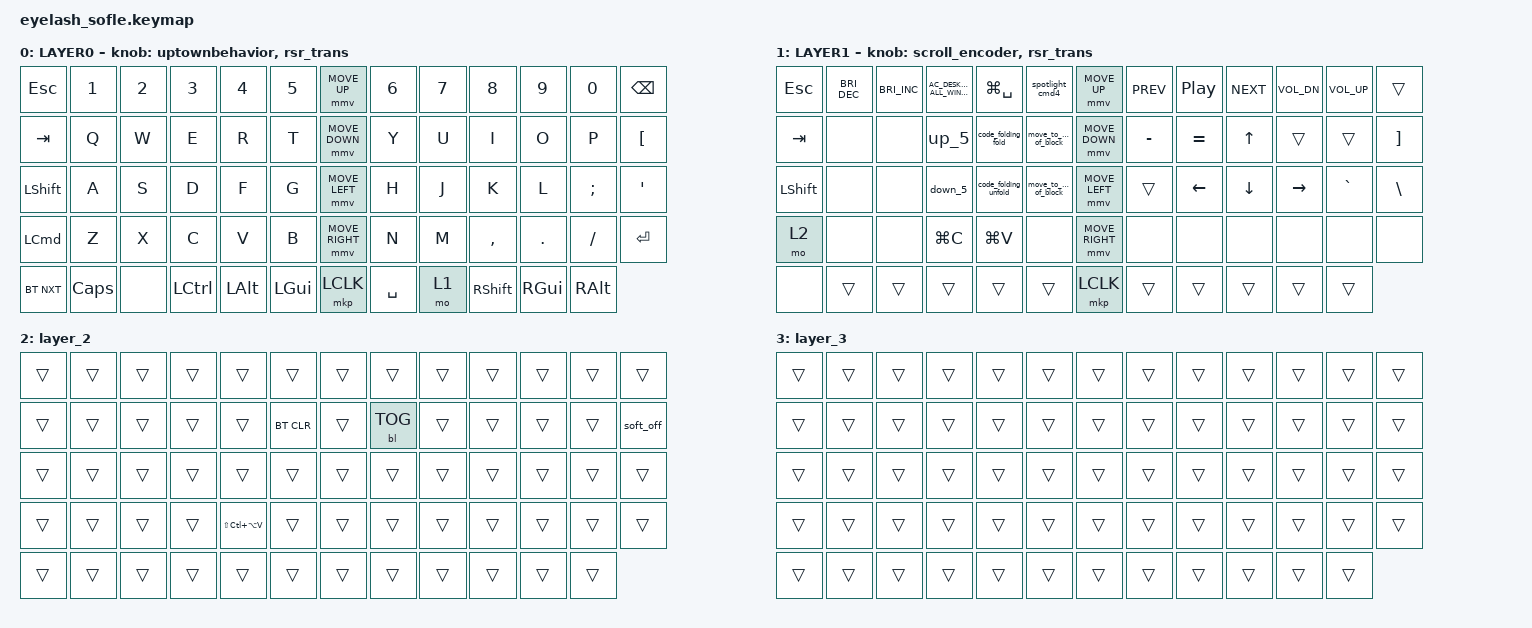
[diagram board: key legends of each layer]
#define ZMK_POINTING_DEFAULT_MOVE_VAL 1200  // 600
#define ZMK_POINTING_DEFAULT_SCRL_VAL 25   // 10

#include <input/processors.dtsi>
#include <zephyr/dt-bindings/input/input-event-codes.h>
#include <behaviors/runtime-sensor-rotate.dtsi>
#include <behaviors.dtsi>
#include <dt-bindings/zmk/backlight.h>
#include <dt-bindings/zmk/bt.h>
#include <dt-bindings/zmk/keys.h>
#include <dt-bindings/zmk/pointing.h>

&mmv_input_listener { input-processors = <&zip_xy_scaler 2 1>; };

&msc_input_listener { input-processors = <&zip_scroll_scaler 2 1>; };

&msc {
    acceleration-exponent = <1>;      // 0
    time-to-max-speed-ms = <100>;       // 300
    delay-ms = <0>;                   // 0
};

&mmv {
    time-to-max-speed-ms = <500>;
    acceleration-exponent = <1>;
    trigger-period-ms = <16>;
};

&soft_off { hold-time-ms = <2000>; };

/ {
    scroll_encoder: scroll_encoder {
        compatible = "zmk,behavior-sensor-rotate";
        #sensor-binding-cells = <0>;
        bindings = <&msc SCRL_DOWN>, <&msc SCRL_UP>;

        tap-ms = <100>;
    };

    behaviors {
        rsr_vol: rsr_vol {
            compatible = "zmk,behavior-runtime-sensor-rotate";
            #sensor-binding-cells = <0>;
            tap-ms = <5>;
            cw-binding = <&kp C_VOL_UP>;
            ccw-binding = <&kp C_VOL_DN>;
        };

        rsr_trans: rsr_trans {
            compatible = "zmk,behavior-runtime-sensor-rotate";
            #sensor-binding-cells = <0>;
            tap-ms = <0>;
        };

        workplaces: workplaces {
            compatible = "zmk,behavior-sensor-rotate";
            #sensor-binding-cells = <0>;
            bindings = <&kp LC(RIGHT)>, <&kp LC(LEFT_ARROW)>;

            tap-ms = <100>;
            label = "WORKPLACES";
        };

        uptownbehavior: uptownbehavior {
            compatible = "zmk,behavior-sensor-rotate";
            #sensor-binding-cells = <0>;
            bindings = <&kp UP_ARROW>, <&kp DOWN_ARROW>;

            tap-ms = <100>;
            label = "UPTOWNBEHAVIOR";
        };
    };

    combos {
        compatible = "zmk,combos";

        softoff {
            bindings = <&soft_off>;
            key-positions = <14 28 40>;
        };
    };

    macros {
        spotlight_cmd4: spotlight_cmd4 {
            compatible = "zmk,behavior-macro";
            #binding-cells = <0>;
            bindings =
                <&kp LG(SPACE)>,
                <&macro_wait_time 50>,
                <&kp LG(NUMBER_4)>;

            label = "SPOTLIGHT_CMD4";
        };

        up_5: up_5 {
            compatible = "zmk,behavior-macro";
            #binding-cells = <0>;
            bindings = <&kp UP &kp UP &kp UP &kp UP &kp UP>;
            label = "UP_5";
            tap-ms = <1>;
            wait-ms = <0>;
        };

        down_5: down_5 {
            compatible = "zmk,behavior-macro";
            #binding-cells = <0>;
            bindings = <&kp DOWN &kp DOWN &kp DOWN &kp DOWN &kp DOWN>;
            label = "DOWN_5";
            tap-ms = <1>;
            wait-ms = <0>;
        };

        left_5: left_5 {
            compatible = "zmk,behavior-macro";
            #binding-cells = <0>;
            bindings = <&kp LEFT &kp LEFT &kp LEFT &kp LEFT &kp LEFT>;
            label = "LEFT_5";
            tap-ms = <1>;
        };

        right_5: right_5 {
            compatible = "zmk,behavior-macro";
            #binding-cells = <0>;
            bindings = <&kp RIGHT &kp RIGHT &kp RIGHT &kp RIGHT &kp RIGHT>;
            label = "RIGHT_5";
            tap-ms = <1>;
        };

        code_folding_fold: code_folding_fold {
            compatible = "zmk,behavior-macro";
            #binding-cells = <0>;
            bindings = <&kp LA(LG(LEFT_ARROW))>;
            label = "CODE_FOLDING_FOLD";
        };

        code_folding_unfold: code_folding_unfold {
            compatible = "zmk,behavior-macro";
            #binding-cells = <0>;
            bindings = <&kp LA(LG(RIGHT))>;
            label = "CODE_FOLDING_UNFOLD";
        };

        move_to_end_of_block: move_to_end_of_block {
            compatible = "zmk,behavior-macro";
            #binding-cells = <0>;
            bindings = <&kp LA(LG(DOWN))>;
            label = "MOVE_TO_END_OF_BLOCK";
        };

        move_to_beginning_of_block: move_to_beginning_of_block {
            compatible = "zmk,behavior-macro";
            #binding-cells = <0>;
            bindings = <&kp LA(LG(UP))>;
            label = "MOVE_TO_BEGINNING_OF_BLOCK";
        };
    };

    keymap {
        compatible = "zmk,keymap";

        layer0 {
            bindings = <
&kp ESC           &kp N1    &kp N2  &kp N3            &kp N4        &kp N5          &mmv MOVE_UP     &kp N6     &kp N7  &kp N8           &kp N9         &kp N0         &kp BACKSPACE
&kp TAB           &kp Q     &kp W   &kp E             &kp R         &kp T           &mmv MOVE_DOWN   &kp Y      &kp U   &kp I            &kp O          &kp P          &kp LEFT_BRACKET
&kp LEFT_SHIFT    &kp A     &kp S   &kp D             &kp F         &kp G           &mmv MOVE_LEFT   &kp H      &kp J   &kp K            &kp L          &kp SEMI       &kp APOS
&kp LEFT_COMMAND  &kp Z     &kp X   &kp C             &kp V         &kp B           &mmv MOVE_RIGHT  &kp N      &kp M   &kp COMMA        &kp DOT        &kp FSLH       &kp ENTER
&bt BT_NXT        &kp CAPS  &none   &kp LEFT_CONTROL  &kp LEFT_ALT  &kp LEFT_GUI    &mkp LCLK        &kp SPACE  &mo 1   &kp RIGHT_SHIFT  &kp RIGHT_GUI  &kp RIGHT_ALT
            >;

            sensor-bindings = <&uptownbehavior>, <&rsr_trans>;

            display-name = "LAYER0";
        };

        layer_1 {
            bindings = <
&kp ESCAPE      &kp C_BRI_DEC  &kp C_BRI_INC  &kp C_AC_DESKTOP_SHOW_ALL_WINDOWS  &kp LG(SPACE)         &spotlight_cmd4                &mmv MOVE_UP     &kp C_PREV  &kp C_PLAY_PAUSE  &kp C_NEXT  &kp C_VOL_DN  &kp C_VOLUME_UP  &trans
&kp TAB         &none          &none          &up_5                              &code_folding_fold    &move_to_beginning_of_block    &mmv MOVE_DOWN   &kp MINUS   &kp EQUAL         &kp UP      &trans        &trans           &kp RIGHT_BRACKET
&kp LEFT_SHIFT  &none          &none          &down_5                            &code_folding_unfold  &move_to_end_of_block          &mmv MOVE_LEFT   &trans      &kp LEFT          &kp DOWN    &kp RIGHT     &kp GRAVE        &kp BSLH
&mo 2           &none          &none          &kp LG(C)                          &kp LG(V)             &none                          &mmv MOVE_RIGHT  &none       &none             &none       &none         &none            &none
&none           &trans         &trans         &trans                             &trans                &trans                         &mkp LCLK        &trans      &trans            &trans      &trans        &trans
            >;

            sensor-bindings = <&scroll_encoder>, <&rsr_trans>;

            display-name = "LAYER1";
        };

        layer_2 {
            bindings = <
&trans  &trans  &trans  &trans  &trans             &trans        &trans  &trans      &trans  &trans  &trans  &trans  &trans
&trans  &trans  &trans  &trans  &trans             &bt BT_CLR    &trans  &bl BL_TOG  &trans  &trans  &trans  &trans  &soft_off
&trans  &trans  &trans  &trans  &trans             &trans        &trans  &trans      &trans  &trans  &trans  &trans  &trans
&trans  &trans  &trans  &trans  &kp LS(LC(LA(V)))  &trans        &trans  &trans      &trans  &trans  &trans  &trans  &trans
&trans  &trans  &trans  &trans  &trans             &trans        &trans  &trans      &trans  &trans  &trans  &trans
            >;
        };

        layer_3 {
            bindings = <
&trans  &trans  &trans  &trans  &trans  &trans    &trans  &trans  &trans  &trans  &trans  &trans  &trans
&trans  &trans  &trans  &trans  &trans  &trans    &trans  &trans  &trans  &trans  &trans  &trans  &trans
&trans  &trans  &trans  &trans  &trans  &trans    &trans  &trans  &trans  &trans  &trans  &trans  &trans
&trans  &trans  &trans  &trans  &trans  &trans    &trans  &trans  &trans  &trans  &trans  &trans  &trans
&trans  &trans  &trans  &trans  &trans  &trans    &trans  &trans  &trans  &trans  &trans  &trans
            >;
        };
    };
};
